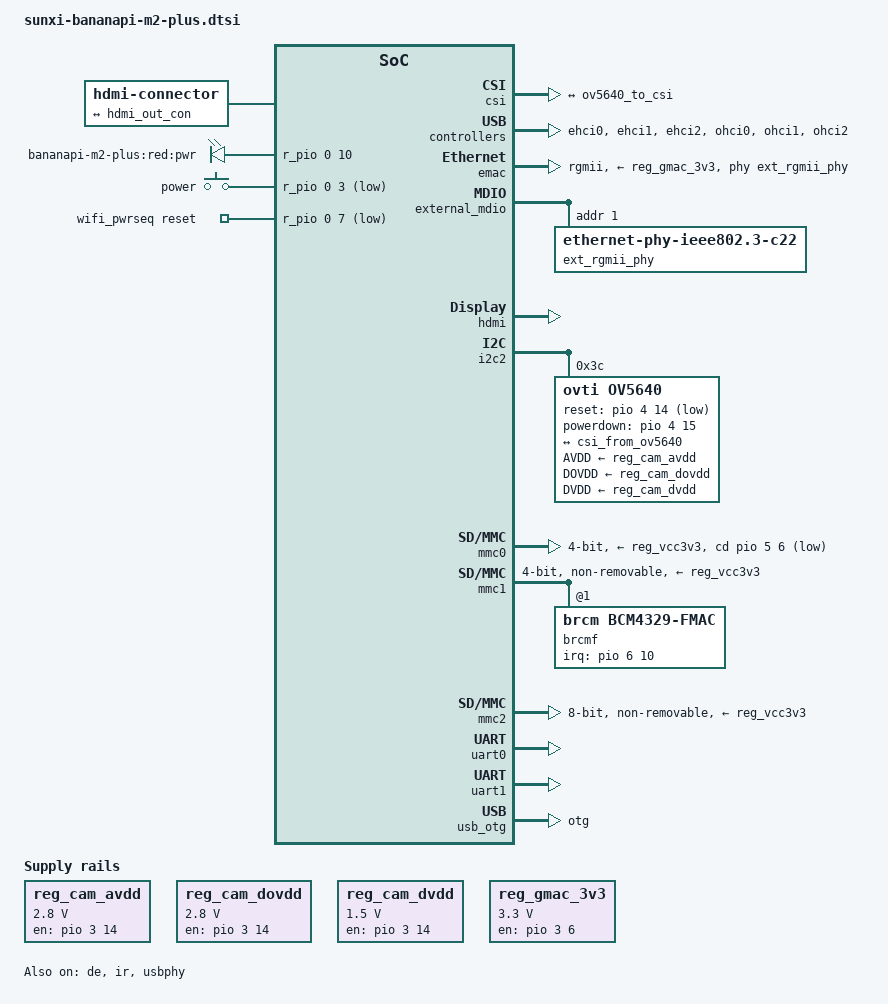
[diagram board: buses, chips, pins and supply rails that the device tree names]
/*
 * Copyright (C) 2016 Chen-Yu Tsai <wens@csie.org>
 *
 * This file is dual-licensed: you can use it either under the terms
 * of the GPL or the X11 license, at your option. Note that this dual
 * licensing only applies to this file, and not this project as a
 * whole.
 *
 *  a) This file is free software; you can redistribute it and/or
 *     modify it under the terms of the GNU General Public License as
 *     published by the Free Software Foundation; either version 2 of the
 *     License, or (at your option) any later version.
 *
 *     This file is distributed in the hope that it will be useful,
 *     but WITHOUT ANY WARRANTY; without even the implied warranty of
 *     MERCHANTABILITY or FITNESS FOR A PARTICULAR PURPOSE.  See the
 *     GNU General Public License for more details.
 *
 * Or, alternatively,
 *
 *  b) Permission is hereby granted, free of charge, to any person
 *     obtaining a copy of this software and associated documentation
 *     files (the "Software"), to deal in the Software without
 *     restriction, including without limitation the rights to use,
 *     copy, modify, merge, publish, distribute, sublicense, and/or
 *     sell copies of the Software, and to permit persons to whom the
 *     Software is furnished to do so, subject to the following
 *     conditions:
 *
 *     The above copyright notice and this permission notice shall be
 *     included in all copies or substantial portions of the Software.
 *
 *     THE SOFTWARE IS PROVIDED "AS IS", WITHOUT WARRANTY OF ANY KIND,
 *     EXPRESS OR IMPLIED, INCLUDING BUT NOT LIMITED TO THE WARRANTIES
 *     OF MERCHANTABILITY, FITNESS FOR A PARTICULAR PURPOSE AND
 *     NONINFRINGEMENT. IN NO EVENT SHALL THE AUTHORS OR COPYRIGHT
 *     HOLDERS BE LIABLE FOR ANY CLAIM, DAMAGES OR OTHER LIABILITY,
 *     WHETHER IN AN ACTION OF CONTRACT, TORT OR OTHERWISE, ARISING
 *     FROM, OUT OF OR IN CONNECTION WITH THE SOFTWARE OR THE USE OR
 *     OTHER DEALINGS IN THE SOFTWARE.
 */

#include "sunxi-common-regulators.dtsi"

#include <dt-bindings/gpio/gpio.h>
#include <dt-bindings/input/input.h>

/ {
	aliases {
		ethernet0 = &emac;
		serial0 = &uart0;
		serial1 = &uart1;
	};

	chosen {
		stdout-path = "serial0:115200n8";
	};

	connector {
		compatible = "hdmi-connector";
		type = "a";

		port {
			hdmi_con_in: endpoint {
				remote-endpoint = <&hdmi_out_con>;
			};
		};
	};

	leds {
		compatible = "gpio-leds";
		pinctrl-names = "default";

		pwr_led {
			label = "bananapi-m2-plus:red:pwr";
			gpios = <&r_pio 0 10 GPIO_ACTIVE_HIGH>; /* PL10 */
			default-state = "on";
		};
	};

	gpio_keys {
		compatible = "gpio-keys";
		pinctrl-names = "default";

		sw4 {
			label = "power";
			linux,code = <BTN_0>;
			gpios = <&r_pio 0 3 GPIO_ACTIVE_LOW>;
		};
	};

	reg_cam_avdd: cam-avdd {
		compatible = "regulator-fixed";
		regulator-name = "csi-avdd";
		regulator-min-microvolt = <2800000>;
		regulator-max-microvolt = <2800000>;
		startup-delay-us = <200>; /* 50 us + board delays */
		enable-active-high;
		gpio = <&pio 3 14 GPIO_ACTIVE_HIGH>; /* PD14 */
	};

	reg_cam_dovdd: cam-dovdd {
		compatible = "regulator-fixed";
		regulator-name = "csi-dovdd";
		regulator-min-microvolt = <2800000>;
		regulator-max-microvolt = <2800000>;
		/*
		 * This regulator also powers the pull-ups for the I2C bus.
		 * For some reason, if this is turned off, subsequent use
		 * of the I2C bus, even when turned on, does not work.
		 */
		startup-delay-us = <200>; /* 50 us + board delays */
		regulator-always-on;
		enable-active-high;
		gpio = <&pio 3 14 GPIO_ACTIVE_HIGH>; /* PD14 */
	};

	reg_cam_dvdd: cam-dvdd {
		compatible = "regulator-fixed";
		regulator-name = "csi-dvdd";
		regulator-min-microvolt = <1500000>;
		regulator-max-microvolt = <1500000>;
		startup-delay-us = <200>; /* 50 us + board delays */
		enable-active-high;
		gpio = <&pio 3 14 GPIO_ACTIVE_HIGH>; /* PD14 */
	};

	reg_gmac_3v3: gmac-3v3 {
		      compatible = "regulator-fixed";
		      regulator-name = "gmac-3v3";
		      regulator-min-microvolt = <3300000>;
		      regulator-max-microvolt = <3300000>;
		      startup-delay-us = <100000>;
		      enable-active-high;
		      gpio = <&pio 3 6 GPIO_ACTIVE_HIGH>;
	};

	wifi_pwrseq: wifi_pwrseq {
		compatible = "mmc-pwrseq-simple";
		pinctrl-names = "default";
		reset-gpios = <&r_pio 0 7 GPIO_ACTIVE_LOW>; /* PL7 */
	};
};

&csi {
	status = "okay";

	port {
		#address-cells = <1>;
		#size-cells = <0>;

		/* Parallel bus endpoint */
		csi_from_ov5640: endpoint {
			remote-endpoint = <&ov5640_to_csi>;
			bus-width = <8>;
			hsync-active = <1>; /* Active high */
			vsync-active = <0>; /* Active low */
			data-active = <1>;  /* Active high */
			pclk-sample = <1>;  /* Rising */
		};
	};
};

&de {
	status = "okay";
};

&ehci0 {
	status = "okay";
};

&ehci1 {
	status = "okay";
};

&ehci2 {
	status = "okay";
};

&emac {
	pinctrl-names = "default";
	pinctrl-0 = <&emac_rgmii_pins>;
	phy-supply = <&reg_gmac_3v3>;
	phy-handle = <&ext_rgmii_phy>;
	phy-mode = "rgmii";

	status = "okay";
};

&external_mdio {
	ext_rgmii_phy: ethernet-phy@1 {
		compatible = "ethernet-phy-ieee802.3-c22";
		reg = <1>;
	};
};

&hdmi {
	status = "okay";
};

&hdmi_out {
	hdmi_out_con: endpoint {
		remote-endpoint = <&hdmi_con_in>;
	};
};

&i2c2 {
	status = "okay";

	ov5640: camera@3c {
		compatible = "ovti,ov5640";
		reg = <0x3c>;
		pinctrl-names = "default";
		pinctrl-0 = <&csi_mclk_pin>;
		clocks = <&ccu CLK_CSI_MCLK>;
		clock-names = "xclk";

		reset-gpios = <&pio 4 14 GPIO_ACTIVE_LOW>; /* PE14 */
		powerdown-gpios = <&pio 4 15 GPIO_ACTIVE_HIGH>; /* PE15 */
		AVDD-supply = <&reg_cam_avdd>;
		DOVDD-supply = <&reg_cam_dovdd>;
		DVDD-supply = <&reg_cam_dvdd>;

		port {
			ov5640_to_csi: endpoint {
				remote-endpoint = <&csi_from_ov5640>;
				bus-width = <8>;
				data-shift = <2>;
				hsync-active = <1>; /* Active high */
				vsync-active = <0>; /* Active low */
				data-active = <1>;  /* Active high */
				pclk-sample = <1>;  /* Rising */
			};
		};
	};
};

&ir {
	pinctrl-names = "default";
	pinctrl-0 = <&ir_pins_a>;
	status = "okay";
};

&mmc0 {
	vmmc-supply = <&reg_vcc3v3>;
	bus-width = <4>;
	cd-gpios = <&pio 5 6 GPIO_ACTIVE_LOW>; /* PF6 */
	status = "okay";
};

&mmc1 {
	vmmc-supply = <&reg_vcc3v3>;
	vqmmc-supply = <&reg_vcc3v3>;
	mmc-pwrseq = <&wifi_pwrseq>;
	bus-width = <4>;
	non-removable;
	status = "okay";

	brcmf: wifi@1 {
		reg = <1>;
		compatible = "brcm,bcm4329-fmac";
		interrupt-parent = <&pio>;
		interrupts = <6 10 IRQ_TYPE_LEVEL_LOW>; /* PG10 / EINT10 */
		interrupt-names = "host-wake";
	};
};

&mmc2 {
	pinctrl-names = "default";
	pinctrl-0 = <&mmc2_8bit_pins>;
	vmmc-supply = <&reg_vcc3v3>;
	vqmmc-supply = <&reg_vcc3v3>;
	bus-width = <8>;
	non-removable;
	status = "okay";
};

&ohci0 {
	status = "okay";
};

&ohci1 {
	status = "okay";
};

&ohci2 {
	status = "okay";
};

&reg_usb0_vbus {
	gpio = <&pio 3 11 GPIO_ACTIVE_HIGH>; /* PD11 */
	status = "okay";
};

&uart0 {
	pinctrl-names = "default";
	pinctrl-0 = <&uart0_pins_a>;
	status = "okay";
};

&uart1 {
	pinctrl-names = "default";
	pinctrl-0 = <&uart1_pins>, <&uart1_rts_cts_pins>;
	status = "okay";
};

&usb_otg {
	dr_mode = "otg";
	status = "okay";
};

&usbphy {
	usb0_id_det-gpios = <&r_pio 0 6 GPIO_ACTIVE_HIGH>; /* PL6 */
	usb0_vbus-supply = <&reg_usb0_vbus>;
	/* USB host VBUS is on as long as VCC-IO is on */
	status = "okay";
};
